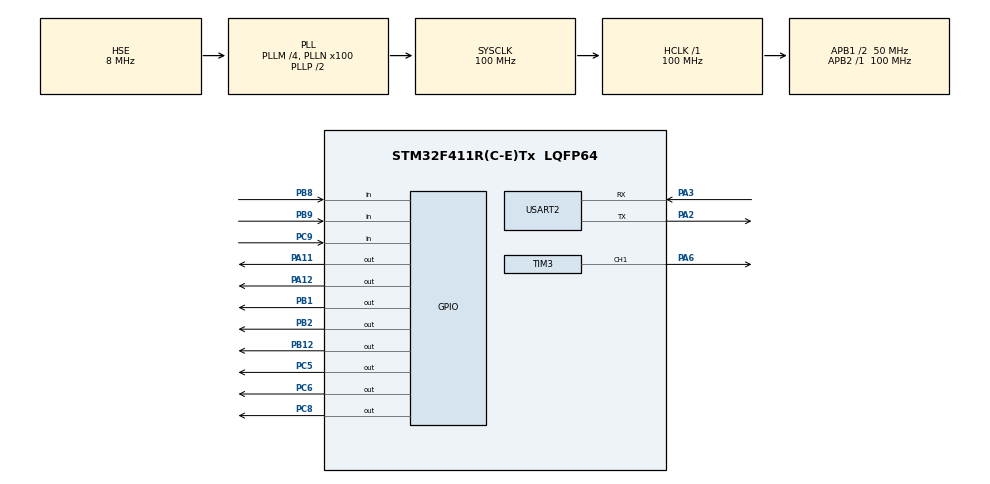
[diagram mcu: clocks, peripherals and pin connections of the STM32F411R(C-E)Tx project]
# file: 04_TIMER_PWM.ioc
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Mcu.Family=STM32F4
Mcu.Name=STM32F411R(C-E)Tx
Mcu.Package=LQFP64
NVIC.PriorityGroup=NVIC_PRIORITYGROUP_4
NVIC.USART2_IRQn=true\:0\:0\:false\:false\:true\:true\:true\:true
PA11.Signal=GPIO_Output
PA12.Signal=GPIO_Output
PA13.Mode=Serial_Wire
PA13.Signal=SYS_JTMS-SWDIO
PA14.Mode=Serial_Wire
PA14.Signal=SYS_JTCK-SWCLK
PA2.Mode=Asynchronous
PA2.Signal=USART2_TX
PA3.Mode=Asynchronous
PA3.Signal=USART2_RX
PA6.Signal=S_TIM3_CH1
PB1.Signal=GPIO_Output
PB12.Signal=GPIO_Output
PB2.Signal=GPIO_Output
PB8.Signal=GPIO_Input
PB9.Signal=GPIO_Input
PC5.Signal=GPIO_Output
PC6.Signal=GPIO_Output
PC8.Signal=GPIO_Output
PC9.Signal=GPIO_Input
PH0\ -\ OSC_IN.Mode=HSE-External-Clock-Source
PH0\ -\ OSC_IN.Signal=RCC_OSC_IN
PH1\ -\ OSC_OUT.Mode=HSE-External-Clock-Source
PH1\ -\ OSC_OUT.Signal=RCC_OSC_OUT
ProjectManager.HeapSize=0x200
ProjectManager.StackSize=0x400
ProjectManager.TargetToolchain=STM32CubeIDE
RCC.48MHZClocksFreq_Value=50000000
RCC.AHBFreq_Value=100000000
RCC.APB1CLKDivider=RCC_HCLK_DIV2
RCC.APB1Freq_Value=50000000
RCC.APB1TimFreq_Value=100000000
RCC.APB2Freq_Value=100000000
RCC.APB2TimFreq_Value=100000000
RCC.CortexFreq_Value=100000000
RCC.HCLKFreq_Value=100000000
RCC.HSE_VALUE=8000000
RCC.HSI_VALUE=16000000
RCC.LSE_VALUE=32768
RCC.PLLM=4
RCC.PLLN=100
RCC.PLLSourceVirtual=RCC_PLLSOURCE_HSE
RCC.RCC_RTC_Clock_Source=RCC_RTCCLKSOURCE_LSI
RCC.SYSCLKFreq_VALUE=100000000
RCC.SYSCLKSource=RCC_SYSCLKSOURCE_PLLCLK
RCC.VCOOutputFreq_Value=200000000
SH.S_TIM3_CH1.0=TIM3_CH1,PWM Generation1 CH1
TIM3.Channel-PWM\ Generation1\ CH1=TIM_CHANNEL_1
TIM3.Period=2000-1
TIM3.Prescaler=1000-1
TIM3.Pulse-PWM\ Generation1\ CH1=300
USART2.VirtualMode=VM_ASYNC
VP_TIM3_VS_ClockSourceINT.Mode=Internal
board=custom

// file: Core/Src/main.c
/* USER CODE BEGIN Header */
/**
  ******************************************************************************
  * @file           : main.c
  * @brief          : Main program body
  ******************************************************************************
  * @attention
  *
  * Copyright (c) 2026 STMicroelectronics.
  * All rights reserved.
  *
  * This software is licensed under terms that can be found in the LICENSE file
  * in the root directory of this software component.
  * If no LICENSE file comes with this software, it is provided AS-IS.
  *
  ******************************************************************************
  */
/* USER CODE END Header */
#include "main.h"
#include "tim.h"
#include "usart.h"
#include "gpio.h"

/* USER CODE BEGIN PV */

uint8_t rxData[10];

/* USER CODE END PV */

void SystemClock_Config(void);
/* USER CODE BEGIN PFP */

void HAL_UART_RxCpltCallback(UART_HandleTypeDef *huart)
{
	HAL_UART_Receive_IT(&huart2, rxData, 1);
}

/* USER CODE END PFP */

int main(void)
{

  /* MCU Configuration--------------------------------------------------------*/

  /* Reset of all peripherals, Initializes the Flash interface and the Systick. */
  HAL_Init();

  /* Configure the system clock */
  SystemClock_Config();

  /* Initialize all configured peripherals */
  MX_GPIO_Init();
  MX_USART2_UART_Init();
  MX_TIM3_Init();
  /* USER CODE BEGIN 2 */

  HAL_UART_Receive_IT(&huart2, rxData, 1);
  HAL_TIM_PWM_Start(&htim3, TIM_CHANNEL_1);

  /* USER CODE END 2 */

  /* Infinite loop */
  /* USER CODE BEGIN WHILE */
  while (1)
  {
//	  TIM3->CCR1 = 40;

//	  for(uint16_t i = 40; i < 200; i++)
//	 	  {
//	 		  TIM3 -> CCR1 = i;
//	 		  HAL_Delay(5);
//	 	  }
		HAL_UART_Receive(&huart2, rxData, 1, 1000);

		if (rxData[0] == 'a') {
			TIM3->CCR1 = 40;
//			rxData[0] = NULL;

		}

		if (rxData[0] == 'b') {
			TIM3->CCR1 = 140;
//			rxData[0] = NULL;

		}

		if (rxData[0] == 'c') {
			TIM3->CCR1 = 240;
//			rxData[0] = NULL;

		}

		if (buttonGetPressed(0)) {
			TIM3->CCR1 = 40;
			HAL_Delay(1000);

		}
		if (buttonGetPressed(1)) {
			TIM3->CCR1 = 140;
			HAL_Delay(1000);

		}
		if (buttonGetPressed(2)) {
			TIM3->CCR1 = 240;
			HAL_Delay(1000);

		}

//	  for(uint16_t i = 0; i < 1000; i++)
//	  {
//		  TIM3 -> CCR1 = i;
//		  HAL_Delay(5);
//	  }

    /* USER CODE END WHILE */

  }
}

void SystemClock_Config(void)
{
  RCC_OscInitTypeDef RCC_OscInitStruct = {0};
  RCC_ClkInitTypeDef RCC_ClkInitStruct = {0};

  /** Configure the main internal regulator output voltage
  */
  __HAL_RCC_PWR_CLK_ENABLE();
  __HAL_PWR_VOLTAGESCALING_CONFIG(PWR_REGULATOR_VOLTAGE_SCALE1);

  /** Initializes the RCC Oscillators according to the specified parameters
  * in the RCC_OscInitTypeDef structure.
  */
  RCC_OscInitStruct.OscillatorType = RCC_OSCILLATORTYPE_HSE;
  RCC_OscInitStruct.HSEState = RCC_HSE_BYPASS;
  RCC_OscInitStruct.PLL.PLLState = RCC_PLL_ON;
  RCC_OscInitStruct.PLL.PLLSource = RCC_PLLSOURCE_HSE;
  RCC_OscInitStruct.PLL.PLLM = 4;
  RCC_OscInitStruct.PLL.PLLN = 100;
  RCC_OscInitStruct.PLL.PLLP = RCC_PLLP_DIV2;
  RCC_OscInitStruct.PLL.PLLQ = 4;
  if (HAL_RCC_OscConfig(&RCC_OscInitStruct) != HAL_OK)
  {
    Error_Handler();
  }

  /** Initializes the CPU, AHB and APB buses clocks
  */
  RCC_ClkInitStruct.ClockType = RCC_CLOCKTYPE_HCLK|RCC_CLOCKTYPE_SYSCLK
                              |RCC_CLOCKTYPE_PCLK1|RCC_CLOCKTYPE_PCLK2;
  RCC_ClkInitStruct.SYSCLKSource = RCC_SYSCLKSOURCE_PLLCLK;
  RCC_ClkInitStruct.AHBCLKDivider = RCC_SYSCLK_DIV1;
  RCC_ClkInitStruct.APB1CLKDivider = RCC_HCLK_DIV2;
  RCC_ClkInitStruct.APB2CLKDivider = RCC_HCLK_DIV1;

  if (HAL_RCC_ClockConfig(&RCC_ClkInitStruct, FLASH_LATENCY_3) != HAL_OK)
  {
    Error_Handler();
  }
}

void Error_Handler(void)
{
  __disable_irq();
  while (1)
  {
  }
}
